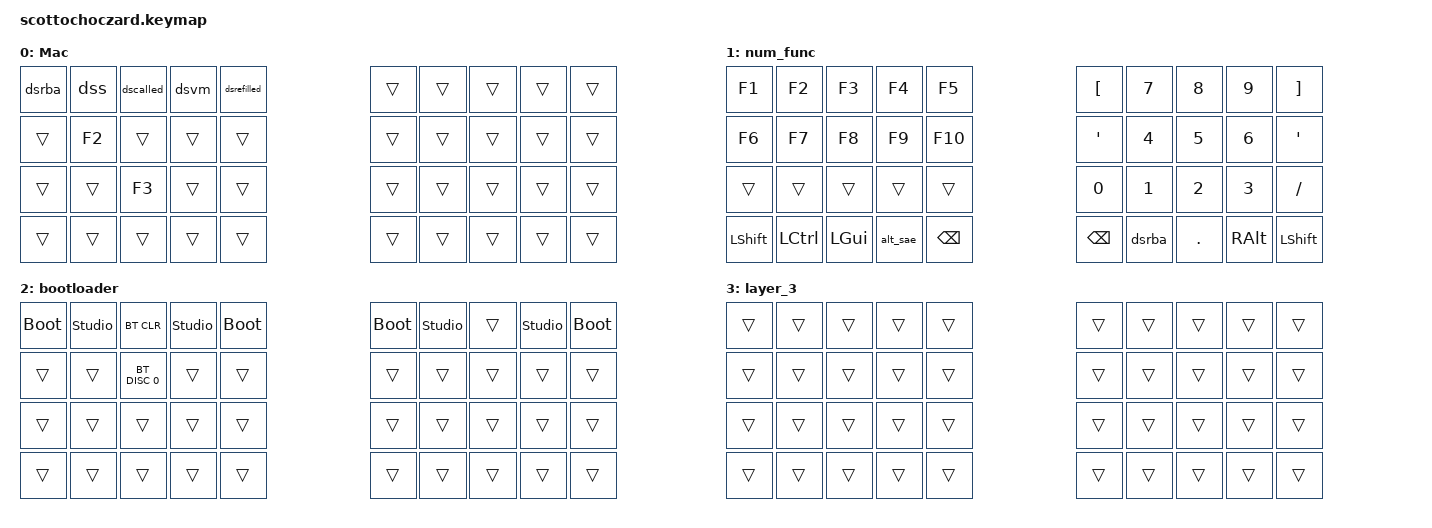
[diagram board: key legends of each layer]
#include <behaviors.dtsi>
#include <dt-bindings/zmk/bt.h>
#include <dt-bindings/zmk/keys.h>

/ {
    macros {
        alt_sae: alt_sae {
            compatible = "zmk,behavior-macro";
            #binding-cells = <0>;
            bindings = <&kp RA(RG(S)) &kp RA(RG(A)) &kp RA(RG(E))>;
            label = "ALT_SAE";
        };

        mmattest: mmattest {
            compatible = "zmk,behavior-macro";
            #binding-cells = <0>;
            bindings =
                <&kp DOT &kp M &kp M &kp A &kp T &kp E &kp S &kp T &kp ENTER>,
                <&macro_wait_time 100>,
                <&kp F2>;

            label = "MMATTEST";
        };

        dsrba: dsrba {
            compatible = "zmk,behavior-macro";
            #binding-cells = <0>;
            bindings = <&kp DOT &kp D &kp S &kp R &kp B &kp A &kp SPACE>;
            label = "DSRBA";
        };

        dss: dss {
            compatible = "zmk,behavior-macro";
            #binding-cells = <0>;
            bindings = <&kp DOT &kp D &kp S &kp S &kp SPACE>;
            label = "DSS";
        };

        dscalled: dscalled {
            compatible = "zmk,behavior-macro";
            #binding-cells = <0>;
            bindings = <&kp DOT &kp D &kp S &kp C &kp A &kp L &kp L &kp E &kp D &kp SPACE>;
            label = "DSCALLED";
        };

        dsvm: dsvm {
            compatible = "zmk,behavior-macro";
            #binding-cells = <0>;
            bindings = <&kp DOT &kp D &kp S &kp V &kp M &kp SPACE>;
            label = "DSVM";
        };

        dsrefilled: dsrefilled {
            compatible = "zmk,behavior-macro";
            #binding-cells = <0>;
            bindings = <&kp DOT &kp D &kp S &kp R &kp E &kp F &kp I &kp L &kp L &kp E &kp D &kp SPACE>;
            label = "DSREFILLED";
        };
    };

    combos {
        compatible = "zmk,combos";

        layer2r {
            timeout-ms = <50>;
            bindings = <&mo 2>;
            key-positions = <37 36 38>;
        };

        layer2 {
            timeout-ms = <50>;
            bindings = <&mo 2>;
            key-positions = <31 32 33>;
        };

        lock {
            timeout-ms = <50>;
            bindings = <&tog 3>;
            key-positions = <30 32 34>;
        };

        lockr {
            timeout-ms = <50>;
            bindings = <&tog 3>;
            key-positions = <35 37 39>;
        };
    };

    keymap {
        compatible = "zmk,keymap";

        default_layer {
            display-name = "Mac";
            bindings = <
           &dsrba     &dss    &dscalled  &dsvm   &dsrefilled                    &trans     &trans  &trans     &trans   &trans
           &trans     &kp F2  &trans     &trans  &trans                         &trans     &trans  &trans     &trans   &trans
           &trans     &trans  &kp F3     &trans  &trans                         &trans     &trans  &trans     &trans   &trans
&trans     &trans            &trans             &trans     &trans     &trans   &trans             &trans              &trans    &trans
            >;
        };

        num_func {
            bindings = <
           &kp F1     &kp F2  &kp F3    &kp F4  &kp F5                        &kp LBKT   &kp N7  &kp N8   &kp N9  &kp RBKT
           &kp F6     &kp F7  &kp F8    &kp F9  &kp F10                       &kp SQT    &kp N4  &kp N5   &kp N6  &kp APOS
           &trans     &trans  &trans    &trans  &trans                        &kp N0     &kp N1  &kp N2   &kp N3  &kp FSLH
&kp LSHFT  &kp LCTRL          &kp LGUI          &alt_sae  &kp BSPC  &kp BSPC  &dsrba          &kp DOT          &kp RALT  &kp LSHFT
            >;
        };

        bootloader {
            bindings = <
        &bootloader  &studio_unlock  &bt BT_CLR     &studio_unlock  &bootloader                  &bootloader  &studio_unlock  &trans  &studio_unlock  &bootloader
        &trans       &trans          &bt BT_DISC 0  &trans          &trans                       &trans       &trans          &trans  &trans          &trans
        &trans       &trans          &trans         &trans          &trans                       &trans       &trans          &trans  &trans          &trans
&trans  &trans                       &trans                         &trans       &trans  &trans  &trans                       &trans                  &trans       &trans
            >;
        };

        layer_3 {
            bindings = <
        &trans  &trans  &trans  &trans  &trans                  &trans  &trans  &trans  &trans  &trans
        &trans  &trans  &trans  &trans  &trans                  &trans  &trans  &trans  &trans  &trans
        &trans  &trans  &trans  &trans  &trans                  &trans  &trans  &trans  &trans  &trans
&trans  &trans          &trans          &trans  &trans  &trans  &trans          &trans          &trans  &trans
            >;
        };
    };
};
